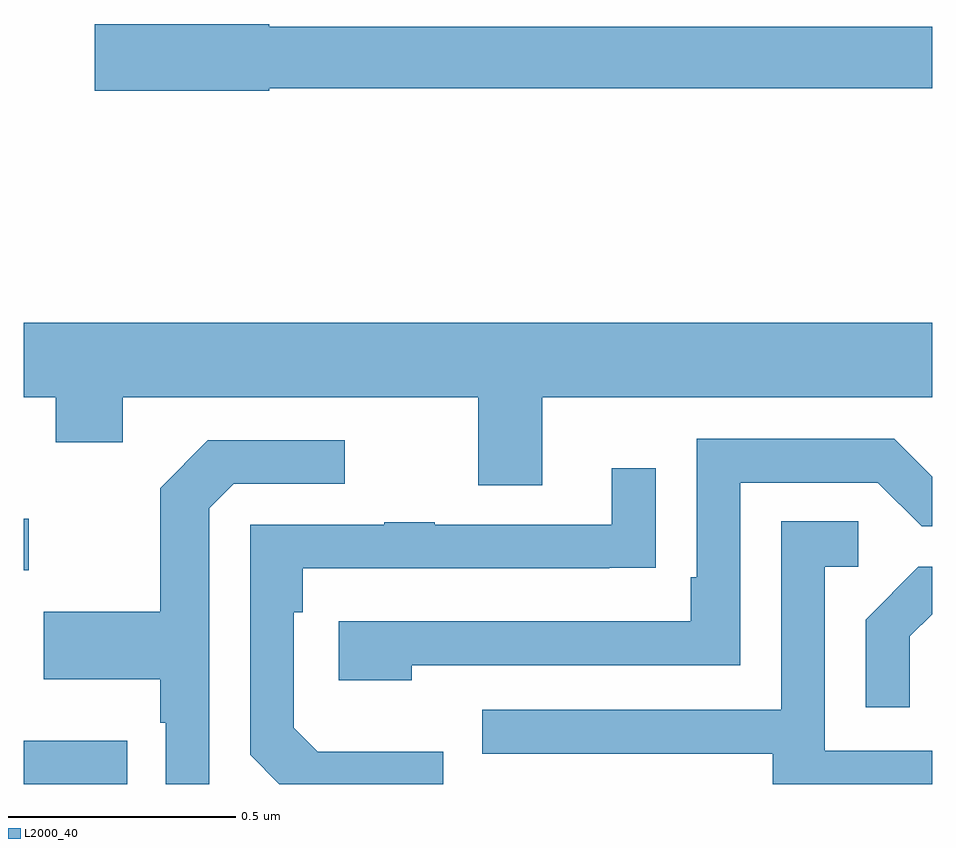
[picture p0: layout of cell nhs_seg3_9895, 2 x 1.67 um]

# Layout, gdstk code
import gdstk
lib = gdstk.Library(unit=1e-6, precision=1e-09)
def R(c, l, rs):  # rectangles x0, y0, x1, y1
    for r in rs: c.add(gdstk.rectangle(r[:2], r[2:], *l))
def P(c, l, *ps):  # polygons
    for p in ps: c.add(gdstk.Polygon(p, *l))
L2000_40 = (2000, 40)

nhs_seg3_9895 = lib.new_cell('nhs_seg3_9895')
R(nhs_seg3_9895, L2000_40, [(234,697.4,234.227,697.495), (234,697.871,234.01,697.984)])
P(nhs_seg3_9895, L2000_40, [(234.54,698.932),(236,698.932),(236,699.068),(234.54,699.068),(234.54,699.074),(234.156,699.074),(234.156,698.927),(234.54,698.927)],
  [(235.141,698.252),(236,698.252),(236,698.416),(234,698.416),(234,698.252),(234.07,698.252),(234.07,698.153),(234.217,698.153),(234.217,698.252),(235.001,698.252),(235.001,698.058),(235.141,698.058)],
  [(234.854,697.662),(235.578,697.662),(235.578,698.064),(235.881,698.064),(235.977,697.968),(236,697.968),(236,698.077),(235.917,698.16),(235.482,698.16),(235.482,697.855),(235.469,697.855),(235.469,697.758),(234.693,697.758),(234.693,697.628),(234.854,697.628)],
  [(234.408,698.007),(234.462,698.061),(234.706,698.061),(234.706,698.157),(234.405,698.157),(234.3,698.051),(234.3,697.779),(234.043,697.779),(234.043,697.631),(234.3,697.631),(234.3,697.535),(234.312,697.535),(234.312,697.4),(234.408,697.4)],
  [(234.924,697.471),(234.647,697.471),(234.594,697.524),(234.594,697.778),(234.614,697.778),(234.614,697.875),(235.289,697.875),(235.289,697.876),(235.391,697.876),(235.391,698.095),(235.295,698.095),(235.295,697.971),(234.905,697.971),(234.905,697.976),(234.793,697.976),(234.793,697.971),(234.498,697.971),(234.498,697.464),(234.562,697.4),(234.924,697.4)],
  [(236,697.473),(235.764,697.473),(235.764,697.878),(235.837,697.878),(235.837,697.979),(235.668,697.979),(235.668,697.563),(235.009,697.563),(235.009,697.467),(235.649,697.467),(235.649,697.4),(236,697.4)],
  [(235.951,697.725),(236,697.774),(236,697.878),(235.97,697.878),(235.854,697.762),(235.854,697.569),(235.951,697.569)])

lib.write_gds('nhs_seg3_9895.gds')
